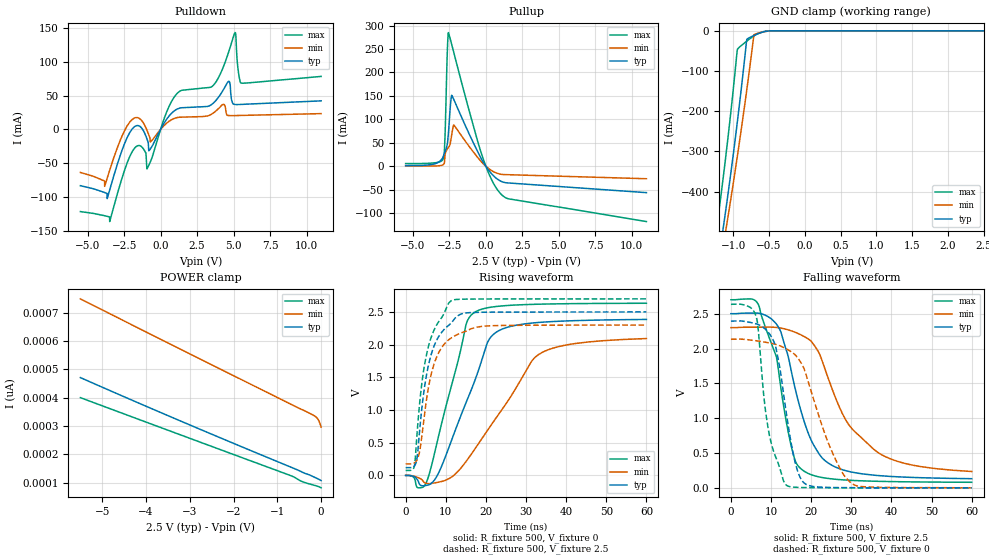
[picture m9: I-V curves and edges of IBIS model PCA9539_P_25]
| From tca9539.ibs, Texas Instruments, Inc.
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[Model]   PCA9539_P_25
Model_type  I/O
Vinl=0.69
Vinh=1.89
Enable   Active-Low
Vref =   2.5V
Rref =   1k
Cref =   50p
Vmeas =   1.25
| variable   typ   min   max
C_comp   3.89pF   3.28pF   5.37pF
| C_pullup   7.69pF   4.25pF   13.66pF
| C_pulldown   2.92pF   1.84pF   3.90pF
| C_tri-state   3.89pF   3.28pF   5.37pF
[Temperature Range]   40   100   -40
| Ambient temperature   25   85   -40
[Voltage range]   2.5   2.3   2.7
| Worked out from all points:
|   slope of the pulldown table from 0 to 0.375 V, typ, clamps not added: 27.3 ohm
|   slope of the pullup table from 0 to 0.375 V, typ, clamps not added: 24.6 ohm
|   GND clamp passes 1 mA (typ) near -0.53 V on its own axis
|   rising waveform, R_fixture 500, V_fixture 0: 20-80 % time 8.64ns typ, 13.3ns min, 6.45ns max; typ from 0 V to 2.38 V
|   falling waveform, R_fixture 500, V_fixture 2.5: 20-80 % time 7.2ns typ, 11.5ns min, 5.6ns max; typ from 2.5 V to 0.131 V
|   rising waveform, R_fixture 500, V_fixture 2.5: 20-80 % time 4.04ns typ, 4.18ns min, 3.96ns max; typ from 0.119 V to 2.5 V
|   falling waveform, R_fixture 500, V_fixture 0: 20-80 % time 4.01ns typ, 7.67ns min, 3.57ns max; typ from 2.39 V to 0 V
[GND Clamp]
| PCA9539_P_25
|   Voltage   I(typ)   I(min)   I(max)
-5.5V     -2.659A    -2.671A    -2.55A
-1.25V    -620.9mA   -649.9mA   -515.2mA
-1.215V   -580.7mA   -614.3mA   -469.4mA
-1.14V    -490.9mA   -535.7mA   -365.6mA
-1.105V   -447.3mA   -497.9mA   -314.2mA
-1.085V   -421.8mA   -476mA     -283.9mA
-1.02V    -335.9mA   -403.1mA   -180.3mA
-945mV    -230.4mA   -315.4mA   -49.25mA
-810mV    -21.17mA   -146.1mA   -25.59mA
-710mV    -11.45mA   -9.703mA   -12.46mA
-505mV    -366uA     -518.4uA   -66.4uA
2.5V      107pA      339.4pA    70.63pA
[POWER Clamp]
| PCA9539_P_25
|   Voltage   I(typ)   I(min)   I(max)
-5.5V     470.3pA    748.2pA    399.6pA
-3.22V    317.7pA    571.1pA    268.6pA
-720mV    156.1pA    378.4pA    125.8pA
-620mV    149.7pA    370.7pA    119.5pA
-445mV    137.7pA    358pA      104.1pA
-210mV    122.8pA    340.2pA    92.53pA
-130mV    117.1pA    332.7pA    89.02pA
-80mV     113.5pA    325pA      86.67pA
-40mV     110.3pA    313.4pA    84.34pA
-95.1fV   107pA      295.5pA    81.18pA
[Pulldown]
| PCA9539_P_25
|   Voltage   I(typ)   I(min)   I(max)
-5.5V     -83.52mA   -63.92mA   -121.8mA
-3.835V   -93.61mA   -84.49mA   -128mA
-3.49V    -89.78mA   -60.55mA   -136.6mA
-1.775V   4.147mA    16.88mA    -27.64mA
-1.1V     -5.415mA   6.314mA    -31.68mA
-935mV    -14.35mA   -1.386mA   -58.57mA
885mV     26.39mA    15.61mA    46.22mA
3.625V    38.95mA    24.32mA    65.29mA
4.68V     71mA       20.37mA    115.6mA
5.105V    36.75mA    20.3mA     143.1mA
5.485V    36.78mA    20.49mA    68.68mA
11V       42.1mA     23.18mA    78.24mA
[Pullup]
| PCA9539_P_25
|   Voltage   I(typ)   I(min)   I(max)
-5.5V     1.58mA     817.9uA    5.893mA
-3.53V    5.067mA    807.9uA    7.411mA
-2.905V   23.01mA    4.267mA    17.45mA
-2.855V   27.07mA    6.471mA    27.03mA
-2.805V   31.06mA    22.7mA     61.94mA
-2.65V    47.02mA    36.78mA    239.5mA
-2.57V    70.66mA    40.55mA    285.1mA
-2.34V    151.3mA    68.02mA    259.2mA
-2.2V     142.4mA    87.97mA    242.4mA
-265mV    13.44mA    8.084mA    23.32mA
1.08V     -32.41mA   -17.09mA   -60.59mA
11V       -56.04mA   -26.38mA   -117.6mA
[Ramp]
| PCA9539_P_25
| variable   typ   min   max
dV/dt_r   1.53/9.25E-09   1.33/1.42E-08   1.69/6.91E-09
dV/dt_f   1.43/7.22E-09   1.24/1.15E-08   1.58/5.66E-09
R_load = 500
[Rising Waveform]
| PCA9539_P_25
R_fixture =   500
C_fixture =   0
L_fixture =   0
V_fixture =   0
V_fixture_min = 0
V_fixture_max = 0
|   Time   V(typ)   V(min)   V(max)
0s        1.361nV    3.152nV    856.6pV
1.94ns    -14.76mV   -9.481mV   -24.52mV
3.01ns    -73.14mV   -31.56mV   -189.1mV
5.225ns   -152.1mV   -123.1mV   -96.71mV
8.325ns   52.81mV    -101.2mV   632.3mV
15.06ns   1.115V     214.2mV    2.308V
16.95ns   1.401V     376.9mV    2.485V
21.75ns   2.151V     809.9mV    2.577V
33.25ns   2.34V      1.853V     2.619V
60ns      2.385V     2.093V     2.633V
[Falling Waveform]
| PCA9539_P_25
R_fixture =   500
C_fixture =   0
L_fixture =   0
V_fixture =   2.5
V_fixture_min = 2.3
V_fixture_max = 2.7
|   Time   V(typ)   V(min)   V(max)
0s        2.5V       2.3V       2.7V
6.95ns    2.506V     2.307V     2.616V
11.28ns   2.354V     2.303V     1.889V
12.36ns   2.25V      2.294V     1.471V
15.36ns   1.588V     2.247V     518.9mV
17.8ns    1.037V     2.186V     257.1mV
23.52ns   387.4mV    1.691V     140.7mV
28.83ns   243.4mV    953.3mV    111.3mV
35.93ns   180.4mV    536.8mV    94.99mV
60ns      131.5mV    234.9mV    79.81mV
[Rising Waveform]
| PCA9539_P_25
R_fixture =   500
C_fixture =   0
L_fixture =   0
V_fixture =   2.5
V_fixture_min = 2.3
V_fixture_max = 2.7
|   Time   V(typ)   V(min)   V(max)
0s        118.9mV    176.1mV    76.15mV
2.215ns   148.2mV    191.5mV    149.7mV
2.86ns    275.9mV    242.1mV    655.8mV
3.875ns   935.3mV    525.2mV    1.327V
5.74ns    1.701V     1.364V     1.986V
7.96ns    2.095V     1.842V     2.325V
11.27ns   2.325V     2.098V     2.667V
14.02ns   2.472V     2.184V     2.695V
20.14ns   2.496V     2.285V     2.698V
60ns      2.5V       2.299V     2.7V
[Falling Waveform]
| PCA9539_P_25
R_fixture =   500
C_fixture =   0
L_fixture =   0
V_fixture =   0
V_fixture_min = 0
V_fixture_max = 0
|   Time   V(typ)   V(min)   V(max)
0s        2.394V     2.133V     2.635V
6.28ns    2.354V     2.111V     2.458V
9.35ns    2.229V     2.082V     827.8mV
11.25ns   2V         2.057V     429.6mV
13.81ns   1.068V     1.995V     38.1mV
15.96ns   375.2mV    1.912V     9.067mV
17.93ns   87.52mV    1.747V     4.848mV
24.54ns   6.22mV     605.4mV    1.616mV
29.96ns   2.693mV    70.57mV    945.3uV
60ns      311.3uV    1.038mV    121.2uV
